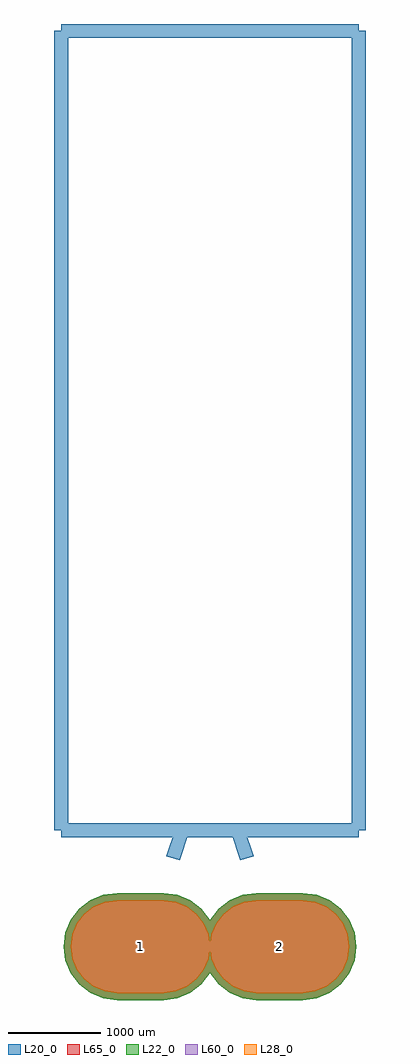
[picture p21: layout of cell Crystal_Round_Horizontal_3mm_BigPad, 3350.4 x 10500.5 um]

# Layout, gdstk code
import gdstk
lib = gdstk.Library(unit=1e-6, precision=1e-09)
def P(c, l, *ps):  # polygons
    for p in ps: c.add(gdstk.Polygon(p, *l))
L20_0 = (20, 0)
L22_0 = (22, 0)
L28_0 = (28, 0)
L60_0 = (60, 0)
L65_0 = (65, 0)

crystal_round_horizontal = lib.new_cell('Crystal_Round_Horizontal_3mm_BigPad')
P(crystal_round_horizontal, L22_0, [(499.11,-575.38),(999.49,-575.38),(1148.409,-555.774),(1287.18,-498.294),(1406.345,-406.855),(1497.784,-287.69),(1555.264,-148.919),(1574.87,0),(1555.264,148.919),(1497.784,287.69),(1406.345,406.855),(1287.18,498.294),(1148.409,555.774),(999.49,575.38),(499.11,575.38),(350.191,555.774),(211.42,498.294),(92.255,406.855),(0.816,287.69),(-56.664,148.919),(-76.27,0),(-56.664,-148.919),(0.816,-287.69),(92.255,-406.855),(211.42,-498.294),(350.191,-555.774)],
  [(-999.49,-575.38),(-499.11,-575.38),(-350.191,-555.774),(-211.42,-498.294),(-92.255,-406.855),(-0.816,-287.69),(56.664,-148.919),(76.27,0),(56.664,148.919),(-0.816,287.69),(-92.255,406.855),(-211.42,498.294),(-350.191,555.774),(-499.11,575.38),(-999.49,575.38),(-1148.409,555.774),(-1287.18,498.294),(-1406.345,406.855),(-1497.784,287.69),(-1555.264,148.919),(-1574.87,0),(-1555.264,-148.919),(-1497.784,-287.69),(-1406.345,-406.855),(-1287.18,-498.294),(-1148.409,-555.774)])
P(crystal_round_horizontal, L28_0, [(499.11,-500.38),(999.49,-500.38),(1128.998,-483.33),(1249.68,-433.342),(1353.312,-353.822),(1432.832,-250.19),(1482.82,-129.508),(1499.87,0),(1482.82,129.508),(1432.832,250.19),(1353.312,353.822),(1249.68,433.342),(1128.998,483.33),(999.49,500.38),(499.11,500.38),(369.602,483.33),(248.92,433.342),(145.288,353.822),(65.768,250.19),(15.78,129.508),(-1.27,0),(15.78,-129.508),(65.768,-250.19),(145.288,-353.822),(248.92,-433.342),(369.602,-483.33)],
  [(-999.49,-500.38),(-499.11,-500.38),(-369.602,-483.33),(-248.92,-433.342),(-145.288,-353.822),(-65.768,-250.19),(-15.78,-129.508),(1.27,0),(-15.78,129.508),(-65.768,250.19),(-145.288,353.822),(-248.92,433.342),(-369.602,483.33),(-499.11,500.38),(-999.49,500.38),(-1128.998,483.33),(-1249.68,433.342),(-1353.312,353.822),(-1432.832,250.19),(-1482.82,129.508),(-1499.87,0),(-1482.82,-129.508),(-1432.832,-250.19),(-1353.312,-353.822),(-1249.68,-433.342),(-1128.998,-483.33)])
P(crystal_round_horizontal, L60_0, [(499.11,-500.38),(999.49,-500.38),(1128.998,-483.33),(1249.68,-433.342),(1353.312,-353.822),(1432.832,-250.19),(1482.82,-129.508),(1499.87,0),(1482.82,129.508),(1432.832,250.19),(1353.312,353.822),(1249.68,433.342),(1128.998,483.33),(999.49,500.38),(499.11,500.38),(369.602,483.33),(248.92,433.342),(145.288,353.822),(65.768,250.19),(15.78,129.508),(-1.27,0),(15.78,-129.508),(65.768,-250.19),(145.288,-353.822),(248.92,-433.342),(369.602,-483.33)],
  [(-999.49,-500.38),(-499.11,-500.38),(-369.602,-483.33),(-248.92,-433.342),(-145.288,-353.822),(-65.768,-250.19),(-15.78,-129.508),(1.27,0),(-15.78,129.508),(-65.768,250.19),(-145.288,353.822),(-248.92,433.342),(-369.602,483.33),(-499.11,500.38),(-999.49,500.38),(-1128.998,483.33),(-1249.68,433.342),(-1353.312,353.822),(-1432.832,250.19),(-1482.82,129.508),(-1499.87,0),(-1482.82,-129.508),(-1432.832,-250.19),(-1353.312,-353.822),(-1249.68,-433.342),(-1128.998,-483.33)])
P(crystal_round_horizontal, L65_0, [(499.11,-575.38),(999.49,-575.38),(1148.409,-555.774),(1287.18,-498.294),(1406.345,-406.855),(1497.784,-287.69),(1555.264,-148.919),(1574.87,0),(1555.264,148.919),(1497.784,287.69),(1406.345,406.855),(1287.18,498.294),(1148.409,555.774),(999.49,575.38),(499.11,575.38),(350.191,555.774),(211.42,498.294),(92.255,406.855),(0.816,287.69),(-56.664,148.919),(-76.27,0),(-56.664,-148.919),(0.816,-287.69),(92.255,-406.855),(211.42,-498.294),(350.191,-555.774)],
  [(-999.49,-575.38),(-499.11,-575.38),(-350.191,-555.774),(-211.42,-498.294),(-92.255,-406.855),(-0.816,-287.69),(56.664,-148.919),(76.27,0),(56.664,148.919),(-0.816,287.69),(-92.255,406.855),(-211.42,498.294),(-350.191,555.774),(-499.11,575.38),(-999.49,575.38),(-1148.409,555.774),(-1287.18,498.294),(-1406.345,406.855),(-1497.784,287.69),(-1555.264,148.919),(-1574.87,0),(-1555.264,-148.919),(-1497.784,-287.69),(-1406.345,-406.855),(-1287.18,-498.294),(-1148.409,-555.774)])
crystal_round_horizontal.add(gdstk.FlexPath([(899.16,1249.68),(-899.16,1249.68)], 149.998, ends="flush", simple_path=True, layer=20, datatype=0))  # L20_0
crystal_round_horizontal.add(gdstk.FlexPath([(299.72,1249.68),(398.78,949.96)], 149.998, ends="flush", simple_path=True, layer=20, datatype=0))  # L20_0
crystal_round_horizontal.add(gdstk.FlexPath([(-299.72,1249.68),(-398.78,949.96)], 149.998, ends="flush", simple_path=True, layer=20, datatype=0))  # L20_0
crystal_round_horizontal.add(gdstk.FlexPath([(899.16,1249.68),(1600.2,1249.68)], 149.998, ends="flush", simple_path=True, layer=20, datatype=0))  # L20_0
crystal_round_horizontal.add(gdstk.FlexPath([(-850.9,1249.68),(-1600.2,1249.68)], 149.998, ends="flush", simple_path=True, layer=20, datatype=0))  # L20_0
crystal_round_horizontal.add(gdstk.FlexPath([(-1600.2,9850.12),(-1600.2,1249.68)], 149.998, ends="flush", simple_path=True, layer=20, datatype=0))  # L20_0
crystal_round_horizontal.add(gdstk.FlexPath([(1600.2,9850.12),(-1600.2,9850.12)], 149.998, ends="flush", simple_path=True, layer=20, datatype=0))  # L20_0
crystal_round_horizontal.add(gdstk.FlexPath([(1600.2,1249.68),(1600.2,9850.12)], 149.998, ends="flush", simple_path=True, layer=20, datatype=0))  # L20_0
crystal_round_horizontal.add(gdstk.Label('2', (749.3,0), layer=28, texttype=0))
crystal_round_horizontal.add(gdstk.Label('1', (-749.3,0), layer=28, texttype=0))
crystal_round_horizontal.add(gdstk.Label('type', (-248.92,-2750.82), layer=9, texttype=0))
crystal_round_horizontal.add(gdstk.Label('devicename', (248.92,11849.1), layer=9, texttype=0))

lib.write_gds('Crystal_Round_Horizontal_3mm_BigPad.gds')
